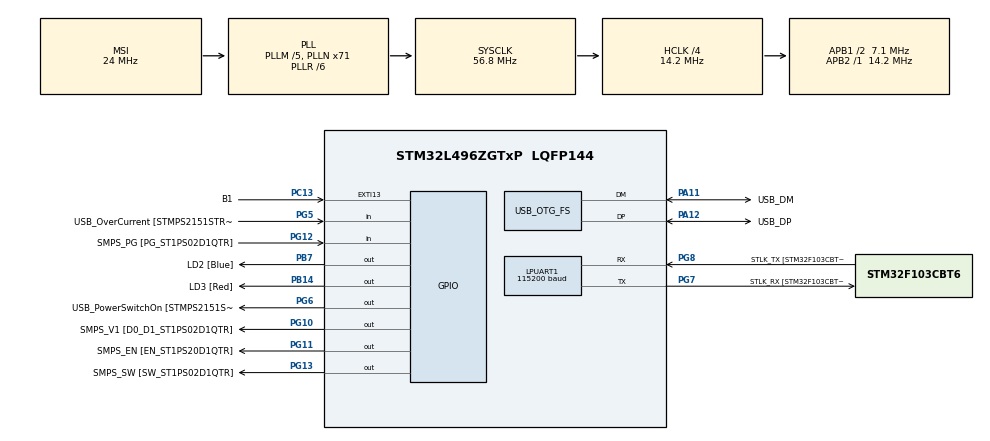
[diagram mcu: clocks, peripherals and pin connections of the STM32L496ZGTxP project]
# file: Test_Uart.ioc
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LPUART1.BaudRate=115200
LPUART1.WordLength=UART_WORDLENGTH_8B
Mcu.Family=STM32L4
Mcu.Name=STM32L496ZGTxP
Mcu.Package=LQFP144
NVIC.OTG_FS_IRQn=true\:0\:0\:false\:false\:true\:true\:true\:true
NVIC.PriorityGroup=NVIC_PRIORITYGROUP_4
PA10.GPIO_Label=USB_ID
PA10.Signal=USB_OTG_FS_ID
PA11.GPIO_Label=USB_DM
PA11.Mode=Host_Only
PA11.Signal=USB_OTG_FS_DM
PA12.GPIO_Label=USB_DP
PA12.Mode=Host_Only
PA12.Signal=USB_OTG_FS_DP
PA13\ (JTMS/SWDIO).GPIO_Label=TMS
PA13\ (JTMS/SWDIO).Mode=Trace_Asynchronous_SW
PA13\ (JTMS/SWDIO).Signal=SYS_JTMS-SWDIO
PA14\ (JTCK/SWCLK).GPIO_Label=TCK
PA14\ (JTCK/SWCLK).Mode=Trace_Asynchronous_SW
PA14\ (JTCK/SWCLK).Signal=SYS_JTCK-SWCLK
PA8.GPIO_Label=USB_SOF [TP1]
PA8.Signal=USB_OTG_FS_SOF
PA9.GPIO_Label=USB_VBUS
PA9.Signal=USB_OTG_FS_VBUS
PB14.GPIO_Label=LD3 [Red]
PB14.Signal=GPIO_Output
PB3\ (JTDO/TRACESWO).GPIO_Label=SWO
PB3\ (JTDO/TRACESWO).Mode=Trace_Asynchronous_SW
PB3\ (JTDO/TRACESWO).Signal=SYS_JTDO-SWO
PB7.GPIO_Label=LD2 [Blue]
PB7.Signal=GPIO_Output
PC13.GPIO_Label=B1
PC13.Signal=GPXTI13
PC14-OSC32_IN\ (PC14).Mode=LSE-External-Oscillator
PC14-OSC32_IN\ (PC14).Signal=RCC_OSC32_IN
PC15-OSC32_OUT\ (PC15).Mode=LSE-External-Oscillator
PC15-OSC32_OUT\ (PC15).Signal=RCC_OSC32_OUT
PG10.GPIO_Label=SMPS_V1 [D0_D1_ST1PS02D1QTR]
PG10.Signal=GPIO_Output
PG11.GPIO_Label=SMPS_EN [EN_ST1PS20D1QTR]
PG11.Signal=GPIO_Output
PG12.GPIO_Label=SMPS_PG [PG_ST1PS02D1QTR]
PG12.Signal=GPIO_Input
PG13.GPIO_Label=SMPS_SW [SW_ST1PS02D1QTR]
PG13.Signal=GPIO_Output
PG5.GPIO_Label=USB_OverCurrent [STMPS2151STR_FAULT]
PG5.Signal=GPIO_Input
PG6.GPIO_Label=USB_PowerSwitchOn [STMPS2151STR_EN]
PG6.Signal=GPIO_Output
PG7.GPIO_Label=STLK_RX [STM32F103CBT6_PA3]
PG7.Mode=Asynchronous
PG7.Signal=LPUART1_TX
PG8.GPIO_Label=STLK_TX [STM32F103CBT6_PA2]
PG8.Mode=Asynchronous
PG8.Signal=LPUART1_RX
PH0-OSC_IN\ (PH0).GPIO_Label=MCO
PH0-OSC_IN\ (PH0).Signal=RCC_OSC_IN
PH1-OSC_OUT\ (PH1).Signal=RCC_OSC_OUT
ProjectManager.HeapSize=0x200
ProjectManager.StackSize=0x400
ProjectManager.TargetToolchain=STM32CubeIDE
RCC.48MHZClocksFreq_Value=24000000
RCC.ADCFreq_Value=48000000
RCC.AHBCLKDivider=RCC_SYSCLK_DIV4
RCC.AHBFreq_Value=14200000
RCC.APB1CLKDivider=RCC_HCLK_DIV2
RCC.APB1Freq_Value=7100000
RCC.APB1TimFreq_Value=14200000
RCC.APB2Freq_Value=14200000
RCC.APB2TimFreq_Value=14200000
RCC.CortexFreq_Value=14200000
RCC.HCLKFreq_Value=14200000
RCC.HSE_VALUE=8000000
RCC.HSI48_VALUE=48000000
RCC.HSI_VALUE=16000000
RCC.MSIClockRange=RCC_MSIRANGE_9
RCC.MSI_VALUE=24000000
RCC.PLLM=5
RCC.PLLMUL=RCC_PLL_MUL9
RCC.PLLN=71
RCC.PLLR=RCC_PLLR_DIV6
RCC.PLLSAI1N=20
RCC.PRESCALERUSB=RCC_USBCLKSOURCE_PLL_DIV1_5
RCC.SYSCLKFreq_VALUE=56800000
RCC.SYSCLKSource=RCC_SYSCLKSOURCE_PLLCLK
RCC.SYSCLKSourceVirtual=RCC_SYSCLKSOURCE_PLLCLK
RCC.USBFreq_Value=48000000
RCC.VCOOutputFreq_Value=340800000
USB_HOST.BSP.number=1
USB_HOST.USBH_HandleTypeDef=hUsbHostFS
USB_HOST.VirtualModeFS=Hid
USB_HOST0.BSP.STBoard=false
USB_HOST0.BSP.api=UnknownBspDriver
USB_HOST0.BSP.instance=PG6
USB_HOST0.BSP.ip=GPIO
USB_HOST0.BSP.mode=Output
USB_HOST0.BSP.name=Drive_VBUS_FS
USB_HOST0.BSP.solution=PG6
USB_OTG_FS.VirtualMode=Host_Only
USB_OTG_FS.phy_itface=HCD_PHY_EMBEDDED
VP_USB_HOST_VS_USB_HOST_HID_FS.Mode=HID_FS
board=NUCLEO-L496ZG-P

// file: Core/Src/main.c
/* USER CODE BEGIN Header */
/**
  ******************************************************************************
  * @file           : main.c
  * @brief          : Main program body
  ******************************************************************************
  * @attention
  *
  * Copyright (c) 2024 STMicroelectronics.
  * All rights reserved.
  *
  * This software is licensed under terms that can be found in the LICENSE file
  * in the root directory of this software component.
  * If no LICENSE file comes with this software, it is provided AS-IS.
  *
  ******************************************************************************
  */
/* USER CODE END Header */
#include "main.h"
#include "usb_host.h"

/* USER CODE BEGIN Includes */

#include "stdio.h"
#include "usbh_hid.h"

/* USER CODE END Includes */

/* USER CODE BEGIN PD */

#define UART_BUF_SIZE 1024
#define UART_TX_TIMEOUT 100
#define REPORT_BUF_SIZE 8

/* USER CODE END PD */

UART_HandleTypeDef hlpuart1;

void SystemClock_Config(void);
static void MX_GPIO_Init(void);
static void MX_LPUART1_UART_Init(void);
void MX_USB_HOST_Process(void);

/* USER CODE BEGIN 0 */

char uart_buf[UART_BUF_SIZE];

uint8_t report_data[REPORT_BUF_SIZE];

void USBH_HID_EventCallback(USBH_HandleTypeDef *phost) {
	if (USBH_HID_GetDeviceType(phost) == HID_MOUSE) {
		HID_MOUSE_Info_TypeDef *mouse_info;
		mouse_info = USBH_HID_GetMouseInfo(phost);
		int len = sprintf(uart_buf, "X=%d, Y=%d, B=(%d,%d,%d)", mouse_info->x, mouse_info->y,
				mouse_info->buttons[0], mouse_info->buttons[1], mouse_info->buttons[2]);

		HAL_UART_Transmit(&hlpuart1,(uint8_t *)uart_buf,len,UART_TX_TIMEOUT);// Sending in normal mode
	} else if (USBH_HID_GetDeviceType(phost) == HID_PEDAL) {
		HID_PEDAL_Info_TypeDef *pedal_info;
		pedal_info = USBH_HID_GetPedalInfo(phost);
		//int len = sprintf(uart_buf, "PEDAL: X=%d, Y=%d, Z=%d\r\n", pedal_info->x, pedal_info->y,
		//		pedal_info->z);
		int len = sprintf(uart_buf + len, "{\"x\":%d,\"y\":%d,\"z\":%d}\r\n", pedal_info->x, pedal_info->y,
				pedal_info->z);

		HAL_UART_Transmit(&hlpuart1,(uint8_t *)uart_buf,len,UART_TX_TIMEOUT);// Sending in normal mode
	} else {
	  HID_HandleTypeDef *HID_Handle = (HID_HandleTypeDef *) phost->pActiveClass->pData;

	  if ((HID_Handle->length == 0U) || (HID_Handle->fifo.buf == NULL))
	  {
	    return;
	  }

	  if (USBH_HID_FifoRead(&HID_Handle->fifo, &report_data, HID_Handle->length) == HID_Handle->length) {
		  int len = 0;
		  for (int i = 0; i < HID_Handle->length; i++) {
			  len += sprintf(uart_buf + len, "%02x ", report_data[i]);
		  }
		  len += sprintf(uart_buf + len, "\r\n");
		  HAL_UART_Transmit(&hlpuart1,(uint8_t *)uart_buf,len,UART_TX_TIMEOUT);// Sending in normal mode
	  }
	}

    // led
	HAL_GPIO_TogglePin (GPIOB, LD3_Pin);
}

/* USER CODE END 0 */

int main(void)
{

  /* MCU Configuration--------------------------------------------------------*/

  /* Reset of all peripherals, Initializes the Flash interface and the Systick. */
  HAL_Init();

  /* Configure the system clock */
  SystemClock_Config();

  /* Initialize all configured peripherals */
  MX_GPIO_Init();
  MX_LPUART1_UART_Init();
  MX_USB_HOST_Init();
  /* USER CODE BEGIN 2 */

  int len = 0;
  len += sprintf(uart_buf + len, "Booting up...\r\n");
  HAL_UART_Transmit(&hlpuart1,(uint8_t *)uart_buf,len,UART_TX_TIMEOUT);

  /* USER CODE END 2 */

  /* Infinite loop */
  while (1)
  {
    MX_USB_HOST_Process();

    /* USER CODE BEGIN 3 */

	//int len = 0;
	//len += sprintf(uart_buf + len, "Got data...\r\n");
	//HAL_UART_Transmit(&hlpuart1,(uint8_t *)uart_buf,len,UART_TX_TIMEOUT);
	//HAL_Delay(100);
  }
  /* USER CODE END 3 */
}

void SystemClock_Config(void)
{
  RCC_OscInitTypeDef RCC_OscInitStruct = {0};
  RCC_ClkInitTypeDef RCC_ClkInitStruct = {0};

  /** Configure the main internal regulator output voltage
  */
  if (HAL_PWREx_ControlVoltageScaling(PWR_REGULATOR_VOLTAGE_SCALE1) != HAL_OK)
  {
    Error_Handler();
  }

  /** Configure LSE Drive Capability
  */
  HAL_PWR_EnableBkUpAccess();
  __HAL_RCC_LSEDRIVE_CONFIG(RCC_LSEDRIVE_LOW);

  /** Initializes the RCC Oscillators according to the specified parameters
  * in the RCC_OscInitTypeDef structure.
  */
  RCC_OscInitStruct.OscillatorType = RCC_OSCILLATORTYPE_LSE|RCC_OSCILLATORTYPE_MSI;
  RCC_OscInitStruct.LSEState = RCC_LSE_ON;
  RCC_OscInitStruct.MSIState = RCC_MSI_ON;
  RCC_OscInitStruct.MSICalibrationValue = 0;
  RCC_OscInitStruct.MSIClockRange = RCC_MSIRANGE_9;
  RCC_OscInitStruct.PLL.PLLState = RCC_PLL_ON;
  RCC_OscInitStruct.PLL.PLLSource = RCC_PLLSOURCE_MSI;
  RCC_OscInitStruct.PLL.PLLM = 5;
  RCC_OscInitStruct.PLL.PLLN = 71;
  RCC_OscInitStruct.PLL.PLLP = RCC_PLLP_DIV2;
  RCC_OscInitStruct.PLL.PLLQ = RCC_PLLQ_DIV2;
  RCC_OscInitStruct.PLL.PLLR = RCC_PLLR_DIV6;
  if (HAL_RCC_OscConfig(&RCC_OscInitStruct) != HAL_OK)
  {
    Error_Handler();
  }

  /** Initializes the CPU, AHB and APB buses clocks
  */
  RCC_ClkInitStruct.ClockType = RCC_CLOCKTYPE_HCLK|RCC_CLOCKTYPE_SYSCLK
                              |RCC_CLOCKTYPE_PCLK1|RCC_CLOCKTYPE_PCLK2;
  RCC_ClkInitStruct.SYSCLKSource = RCC_SYSCLKSOURCE_PLLCLK;
  RCC_ClkInitStruct.AHBCLKDivider = RCC_SYSCLK_DIV4;
  RCC_ClkInitStruct.APB1CLKDivider = RCC_HCLK_DIV2;
  RCC_ClkInitStruct.APB2CLKDivider = RCC_HCLK_DIV1;

  if (HAL_RCC_ClockConfig(&RCC_ClkInitStruct, FLASH_LATENCY_0) != HAL_OK)
  {
    Error_Handler();
  }

  /** Enable MSI Auto calibration
  */
  HAL_RCCEx_EnableMSIPLLMode();
}

static void MX_LPUART1_UART_Init(void)
{

  hlpuart1.Instance = LPUART1;
  hlpuart1.Init.BaudRate = 115200;
  hlpuart1.Init.WordLength = UART_WORDLENGTH_8B;
  hlpuart1.Init.StopBits = UART_STOPBITS_1;
  hlpuart1.Init.Parity = UART_PARITY_NONE;
  hlpuart1.Init.Mode = UART_MODE_TX_RX;
  hlpuart1.Init.HwFlowCtl = UART_HWCONTROL_NONE;
  hlpuart1.Init.OneBitSampling = UART_ONE_BIT_SAMPLE_DISABLE;
  hlpuart1.AdvancedInit.AdvFeatureInit = UART_ADVFEATURE_NO_INIT;
  if (HAL_UART_Init(&hlpuart1) != HAL_OK)
  {
    Error_Handler();
  }

}

static void MX_GPIO_Init(void)
{
  GPIO_InitTypeDef GPIO_InitStruct = {0};

  /* GPIO Ports Clock Enable */
  __HAL_RCC_GPIOC_CLK_ENABLE();
  __HAL_RCC_GPIOH_CLK_ENABLE();
  __HAL_RCC_GPIOB_CLK_ENABLE();
  __HAL_RCC_GPIOG_CLK_ENABLE();
  HAL_PWREx_EnableVddIO2();
  __HAL_RCC_GPIOA_CLK_ENABLE();

  /*Configure GPIO pin Output Level */
  HAL_GPIO_WritePin(GPIOB, LD3_Pin|LD2_Pin, GPIO_PIN_RESET);

  /*Configure GPIO pin Output Level */
  HAL_GPIO_WritePin(GPIOG, USB_PowerSwitchOn_Pin|SMPS_V1_Pin|SMPS_EN_Pin|SMPS_SW_Pin, GPIO_PIN_RESET);

  /*Configure GPIO pin : B1_Pin */
  GPIO_InitStruct.Pin = B1_Pin;
  GPIO_InitStruct.Mode = GPIO_MODE_IT_RISING;
  GPIO_InitStruct.Pull = GPIO_NOPULL;
  HAL_GPIO_Init(B1_GPIO_Port, &GPIO_InitStruct);

  /*Configure GPIO pins : LD3_Pin LD2_Pin */
  GPIO_InitStruct.Pin = LD3_Pin|LD2_Pin;
  GPIO_InitStruct.Mode = GPIO_MODE_OUTPUT_PP;
  GPIO_InitStruct.Pull = GPIO_NOPULL;
  GPIO_InitStruct.Speed = GPIO_SPEED_FREQ_LOW;
  HAL_GPIO_Init(GPIOB, &GPIO_InitStruct);

  /*Configure GPIO pins : USB_OverCurrent_Pin SMPS_PG_Pin */
  GPIO_InitStruct.Pin = USB_OverCurrent_Pin|SMPS_PG_Pin;
  GPIO_InitStruct.Mode = GPIO_MODE_INPUT;
  GPIO_InitStruct.Pull = GPIO_NOPULL;
  HAL_GPIO_Init(GPIOG, &GPIO_InitStruct);

  /*Configure GPIO pins : USB_PowerSwitchOn_Pin SMPS_V1_Pin SMPS_EN_Pin SMPS_SW_Pin */
  GPIO_InitStruct.Pin = USB_PowerSwitchOn_Pin|SMPS_V1_Pin|SMPS_EN_Pin|SMPS_SW_Pin;
  GPIO_InitStruct.Mode = GPIO_MODE_OUTPUT_PP;
  GPIO_InitStruct.Pull = GPIO_NOPULL;
  GPIO_InitStruct.Speed = GPIO_SPEED_FREQ_LOW;
  HAL_GPIO_Init(GPIOG, &GPIO_InitStruct);

}

void Error_Handler(void)
{
  __disable_irq();
  while (1)
  {
  }
}
